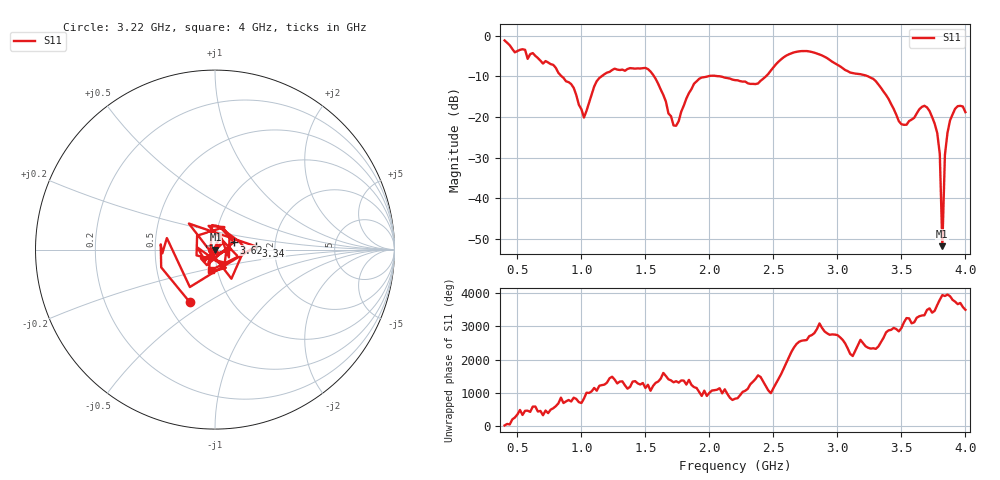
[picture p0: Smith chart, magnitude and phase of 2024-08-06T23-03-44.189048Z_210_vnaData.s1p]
!Created with skrf (http://scikit-rf.org).
# Hz S RI R 50.0
!freq ReS11 ImS11
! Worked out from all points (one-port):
!   181 points, 400 MHz to 4 GHz, reference 50 ohm
!   lowest |S11| = -51.7 dB at 3.82 GHz (marker M1), VSWR 1.01, Z = 50.2 - j0.0884 ohm
!   |S11| at or under -10 dB: 1.567 GHz to 1.99 GHz (422.4 MHz wide, 23.7 % of centre); 2.082 GHz to 2.442 GHz (360.2 MHz wide, 15.9 % of centre); 3.239 GHz to end of sweep (the widest 3 of 4)
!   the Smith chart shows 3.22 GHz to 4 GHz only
!   S11 on the Smith chart (normalised r, x): 3.22 GHz: 0.64, -0.42; 3.34 GHz: 1.59, +0.06; 3.62 GHz: 1.23, +0.10; 4 GHz: 0.94, -0.21
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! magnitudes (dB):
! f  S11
! 400 MHz  -1.2
! 860 MHz  -10.4
! 940 MHz  -12.8
! 1.02 GHz  -20.1
! 1.12 GHz  -11.2
! 1.3 GHz  -8.5
! 1.52 GHz  -8.2
! 1.64 GHz  -14.6
! 1.72 GHz  -22.1
! 1.76 GHz  -21.0
! 1.92 GHz  -10.6
! 2.2 GHz  -10.9
! 2.38 GHz  -11.8
! 2.66 GHz  -4.1
! 3.1 GHz  -9.1
! 3.22 GHz  -9.8
! 3.34 GHz  -12.8
! 3.48 GHz  -21.0
! 3.56 GHz  -21.0
! 3.62 GHz  -19.1
! 3.7 GHz  -17.6
! 3.78 GHz  -23.9
! 3.8 GHz  -29.1
! 3.82 GHz  -51.7
! 3.84 GHz  -29.4
! 3.86 GHz  -23.9
! 3.92 GHz  -18.0
! 4 GHz  -18.8
